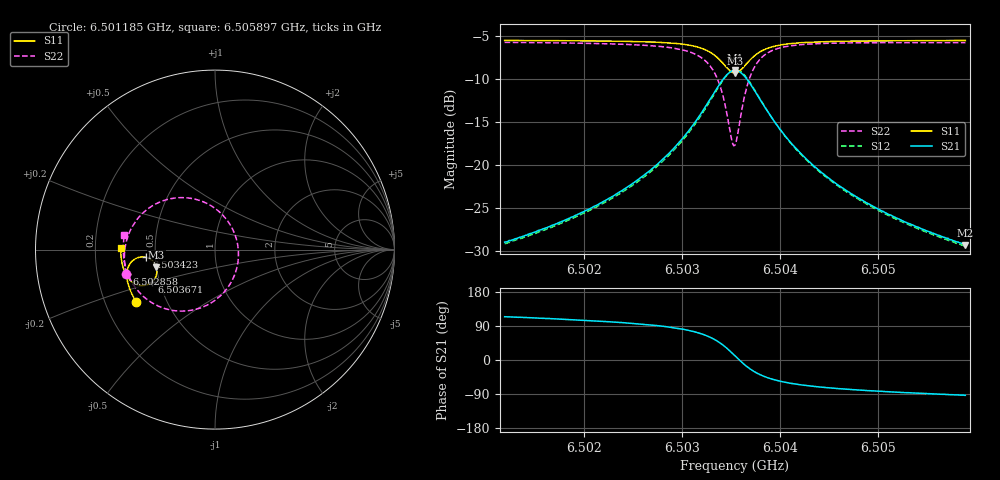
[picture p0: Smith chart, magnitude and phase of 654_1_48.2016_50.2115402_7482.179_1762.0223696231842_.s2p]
#  HZ  S  RI  R  50.00
! Rohde & Schwarz Vector Network Analyzer
! Rohde-Schwarz,ZNB20-2Port,1311601062101988,3.16
! Created: UTC 3/20/2024, 12:05:20 PM
! freq[Hz]  re:S11  im:S11  re:S21  im:S21  re:S12  im:S12  re:S22  im:S22
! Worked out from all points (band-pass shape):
!   401 points, 6.501185 GHz to 6.505897 GHz, reference 50 ohm
!   highest |S21| = -9.03 dB at 6.503541 GHz (marker M1); lowest = -29.2 dB at 6.505897 GHz (marker M2)
!   |S21| within 3 dB of the highest: 6.503306 GHz to 6.503777 GHz (470.9 kHz wide, 0.00724 % of centre)
!   lowest |S11| = -9.3 dB at 6.503541 GHz (marker M3), VSWR 2.04, Z = 25 - j5.52 ohm
!   |S11| at or under -10 dB: nowhere
!   |S22| runs from -17.8 to -5.8 dB; largest |S21 - S12| = 0.013
!   S11 on the Smith chart (normalised r, x): 6.501185 GHz: 0.34, -0.27; 6.502858 GHz: 0.33, -0.12; 6.503423 GHz: 0.45, -0.05; 6.503671 GHz: 0.46, -0.19; 6.505897 GHz: 0.31, +0.01
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6.5011851e9  -0.4376 -0.2927  -0.0147 0.0327  -0.0128 0.0326  -0.4955 -0.1345
6.5019744e9  -0.4697 -0.2322  -0.0139 0.0513  -0.0111 0.0508  -0.5051 -0.0467
6.5023985e9  -0.4838 -0.1933  -0.0105 0.0712  -0.0072 0.0699  -0.4999 0.0171
6.5027637e9  -0.4912 -0.1509  -0.000395 0.1031  0.0036 0.1004  -0.4773 0.0956
6.5028579e9  -0.4915 -0.1373  0.00567 0.1155  0.00977 0.1125  -0.4643 0.1223
6.5030582e9  -0.4854 -0.1027  0.0307 0.1524  0.0347 0.1474  -0.4124 0.1932
6.5031996e9  -0.4689 -0.0723  0.0723 0.1875  0.0755 0.1811  -0.3319 0.2536
6.5033292e9  -0.4311 -0.0453  0.1526 0.2139  0.1536 0.2069  -0.186 0.2897
6.5034234e9  -0.3826 -0.0432  0.2478 0.196  0.2481 0.1907  -0.0212 0.2441
6.5035059e9  -0.338 -0.0744  0.3287 0.1179  0.3318 0.1129  0.1088 0.0901
6.5035412e9  -0.3268 -0.0977  0.347 0.0671  0.3511 0.0605  0.1303 -0.00574
6.5035648e9  -0.3238 -0.1147  0.3502 0.0309  0.3549 0.023  0.1277 -0.0722
6.5036001e9  -0.3263 -0.14  0.3425 -0.0214  0.3464 -0.0315  0.0988 -0.1654
6.5036708e9  -0.3495 -0.1789  0.2935 -0.1007  0.2932 -0.1137  -0.0169 -0.2941
6.5037651e9  -0.3922 -0.1994  0.2115 -0.1455  0.2061 -0.1569  -0.1838 -0.3427
6.5038358e9  -0.4192 -0.1994  0.1619 -0.1506  0.1545 -0.1596  -0.2767 -0.3294
6.5039182e9  -0.4432 -0.192  0.1198 -0.1443  0.1117 -0.1505  -0.3508 -0.2965
6.5040832e9  -0.473 -0.1708  0.07 -0.1222  0.0627 -0.1251  -0.4315 -0.2269
6.5043306e9  -0.4958 -0.1395  0.0358 -0.0943  0.0305 -0.095  -0.4809 -0.1469
6.504684e9  -0.5116 -0.1009  0.0158 -0.0691  0.0121 -0.0688  -0.5045 -0.07
6.5051199e9  -0.5209 -0.0595  0.00553 -0.0514  0.00295 -0.0507  -0.5113 -0.00423
6.5058974e9  -0.5262 0.0074  -0.00196 -0.0345  -0.0035 -0.0337  -0.5047 0.082
